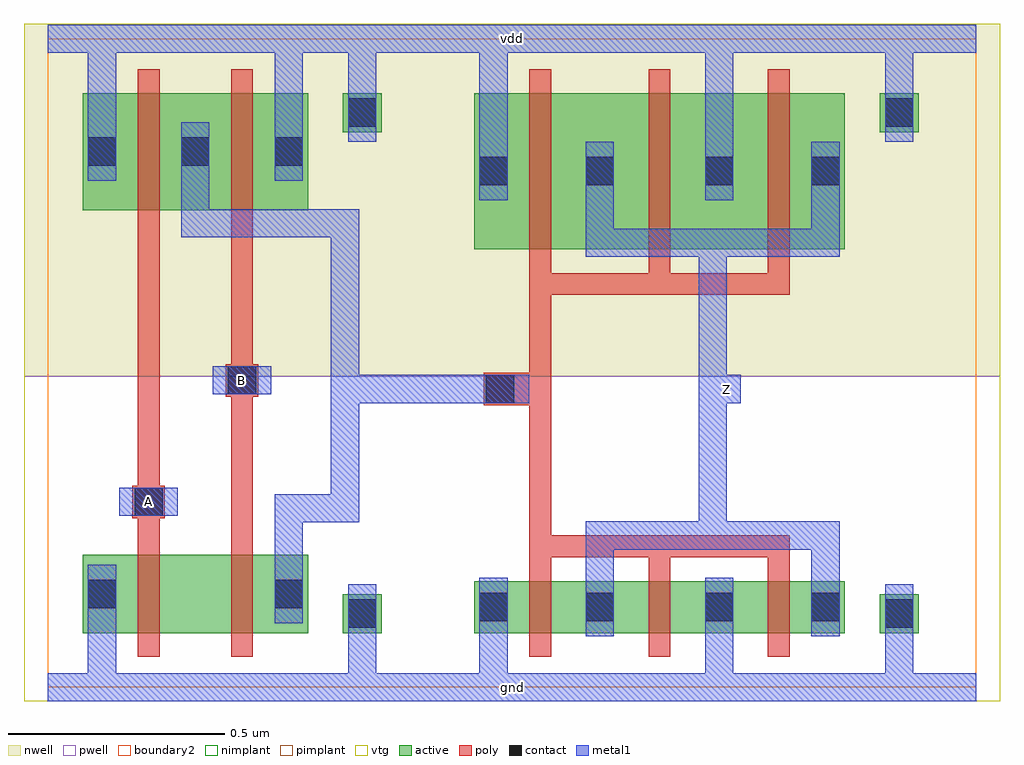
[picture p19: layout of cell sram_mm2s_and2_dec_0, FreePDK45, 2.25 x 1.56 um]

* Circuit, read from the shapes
.subckt sram_mm2s_and2_dec_0 A B Z gnd vdd
M1 sram_mm2s_pnand2_0/sram_mm2s_nmos_m1_w0_180_sm1_dactive_2/D A gnd gnd nfet w=0.18u l=0.05u
M2 sram_mm2s_pinv_0_1/A B sram_mm2s_pnand2_0/sram_mm2s_nmos_m1_w0_180_sm1_dactive_2/D gnd nfet w=0.18u l=0.05u
M3 Z sram_mm2s_pinv_0_1/A gnd gnd nfet w=0.12u l=0.05u m=3
M4 sram_mm2s_pinv_0_1/A A vdd vdd pfet w=0.27u l=0.05u
M5 vdd B sram_mm2s_pinv_0_1/A vdd pfet w=0.27u l=0.05u
M6 Z sram_mm2s_pinv_0_1/A vdd vdd pfet w=0.36u l=0.05u m=3
.ends

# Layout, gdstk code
import gdstk
lib = gdstk.Library(unit=1e-6, precision=5e-10)
def R(c, l, rs):  # rectangles x0, y0, x1, y1
    for r in rs: c.add(gdstk.rectangle(r[:2], r[2:], *l))
def A(c, l, x, y, w, h, nx, ny, dx, dy):  # array of equal rectangles
    R(c, l, [(x+i*dx, y+j*dy, x+i*dx+w, y+j*dy+h) for i in range(nx) for j in range(ny)])
active = (1, 0)
pwell = (2, 0)
nwell = (3, 0)
nimplant = (4, 0)
pimplant = (5, 0)
vtg = (6, 0)
poly = (9, 0)
contact = (10, 0)
metal1 = (11, 0)
boundary2 = (239, 0)

sram_mm2s_contact_11 = lib.new_cell('sram_mm2s_contact_11')
R(sram_mm2s_contact_11, active, [(0,0.0225,0.09,0.1125)])
R(sram_mm2s_contact_11, nwell, [(-0.055,-0.0325,0.145,0.1675)])
R(sram_mm2s_contact_11, pimplant, [(0,0.0225,0.09,0.1125)])
R(sram_mm2s_contact_11, contact, [(0.0125,0.035,0.0775,0.1)])
R(sram_mm2s_contact_11, metal1, [(0.0125,0,0.0775,0.135)])
R(sram_mm2s_contact_11, boundary2, [(-0.055,-0.0325,0.145,0.1675)])

sram_mm2s_pmos_m1_w0_270 = lib.new_cell('sram_mm2s_pmos_m1_w0_270_sm1_dm1')
R(sram_mm2s_pmos_m1_w0_270, active, [(0,0,0.305,0.27)])
R(sram_mm2s_pmos_m1_w0_270, nwell, [(-0.08,-0.08,0.385,0.35)])
R(sram_mm2s_pmos_m1_w0_270, pimplant, [(0,0,0.305,0.27)])
R(sram_mm2s_pmos_m1_w0_270, vtg, [(-0.08,-0.08,0.385,0.35)])
R(sram_mm2s_pmos_m1_w0_270, poly, [(0.1275,-0.055,0.1775,0.325), (0.1275,-0.055,0.1775,0.325)])
R(sram_mm2s_pmos_m1_w0_270, metal1, [(0.0125,0.0675,0.0775,0.2025), (0.2275,0.0675,0.2925,0.2025)])
R(sram_mm2s_pmos_m1_w0_270, boundary2, [(-0.08,-0.08,0.385,0.35)])
sram_mm2s_pmos_m1_w0_270.add(gdstk.Reference(sram_mm2s_contact_11, (0,0.0675)))
sram_mm2s_pmos_m1_w0_270.add(gdstk.Reference(sram_mm2s_contact_11, (0.215,0.0675)))
sram_mm2s_pmos_m1_w0_270.add(gdstk.Label('G', (0.1525,0.135), layer=9, texttype=0))
sram_mm2s_pmos_m1_w0_270.add(gdstk.Label('S', (0.045,0.135), layer=11, texttype=0))
sram_mm2s_pmos_m1_w0_270.add(gdstk.Label('D', (0.26,0.135), layer=11, texttype=0))

sram_mm2s_contact_10 = lib.new_cell('sram_mm2s_contact_10')
R(sram_mm2s_contact_10, active, [(0,0.0225,0.09,0.1125)])
R(sram_mm2s_contact_10, pwell, [(-0.055,-0.0325,0.145,0.1675)])
R(sram_mm2s_contact_10, nimplant, [(0,0.0225,0.09,0.1125)])
R(sram_mm2s_contact_10, contact, [(0.0125,0.035,0.0775,0.1)])
R(sram_mm2s_contact_10, metal1, [(0.0125,0,0.0775,0.135)])
R(sram_mm2s_contact_10, boundary2, [(-0.055,-0.0325,0.145,0.1675)])

sram_mm2s_nmos_m1_w0_180 = lib.new_cell('sram_mm2s_nmos_m1_w0_180_sm1_dactive')
R(sram_mm2s_nmos_m1_w0_180, active, [(0,0,0.305,0.18), (0.215,0.045,0.305,0.135)])
R(sram_mm2s_nmos_m1_w0_180, pwell, [(-0.08,-0.08,0.385,0.26)])
R(sram_mm2s_nmos_m1_w0_180, nimplant, [(0,0,0.305,0.18)])
R(sram_mm2s_nmos_m1_w0_180, vtg, [(-0.08,-0.08,0.385,0.26)])
R(sram_mm2s_nmos_m1_w0_180, poly, [(0.1275,-0.055,0.1775,0.235), (0.1275,-0.055,0.1775,0.235)])
R(sram_mm2s_nmos_m1_w0_180, metal1, [(0.0125,0.0225,0.0775,0.1575)])
R(sram_mm2s_nmos_m1_w0_180, boundary2, [(-0.08,-0.08,0.385,0.26)])
sram_mm2s_nmos_m1_w0_180.add(gdstk.Reference(sram_mm2s_contact_10, (0,0.0225)))
sram_mm2s_nmos_m1_w0_180.add(gdstk.Label('G', (0.1525,0.09), layer=9, texttype=0))
sram_mm2s_nmos_m1_w0_180.add(gdstk.Label('S', (0.045,0.09), layer=11, texttype=0))
sram_mm2s_nmos_m1_w0_180.add(gdstk.Label('D', (0.26,0.09), layer=1, texttype=0))

c_sram_mm2s_nmos_m1_w0_180 = lib.new_cell('sram_mm2s_nmos_m1_w0_180_sactive_dm1')
R(c_sram_mm2s_nmos_m1_w0_180, active, [(0,0,0.305,0.18), (0,0.045,0.09,0.135)])
R(c_sram_mm2s_nmos_m1_w0_180, pwell, [(-0.08,-0.08,0.385,0.26)])
R(c_sram_mm2s_nmos_m1_w0_180, nimplant, [(0,0,0.305,0.18)])
R(c_sram_mm2s_nmos_m1_w0_180, vtg, [(-0.08,-0.08,0.385,0.26)])
R(c_sram_mm2s_nmos_m1_w0_180, poly, [(0.1275,-0.055,0.1775,0.235), (0.1275,-0.055,0.1775,0.235)])
R(c_sram_mm2s_nmos_m1_w0_180, metal1, [(0.2275,0.0225,0.2925,0.1575)])
R(c_sram_mm2s_nmos_m1_w0_180, boundary2, [(-0.08,-0.08,0.385,0.26)])
c_sram_mm2s_nmos_m1_w0_180.add(gdstk.Reference(sram_mm2s_contact_10, (0.215,0.0225)))
c_sram_mm2s_nmos_m1_w0_180.add(gdstk.Label('G', (0.1525,0.09), layer=9, texttype=0))
c_sram_mm2s_nmos_m1_w0_180.add(gdstk.Label('S', (0.045,0.09), layer=1, texttype=0))
c_sram_mm2s_nmos_m1_w0_180.add(gdstk.Label('D', (0.26,0.09), layer=11, texttype=0))

sram_mm2s_contact_12 = lib.new_cell('sram_mm2s_contact_12')
R(sram_mm2s_contact_12, active, [(0,0.0225,0.09,0.1125)])
R(sram_mm2s_contact_12, nwell, [(-0.055,-0.0325,0.145,0.1675)])
R(sram_mm2s_contact_12, nimplant, [(0,0.0225,0.09,0.1125)])
R(sram_mm2s_contact_12, contact, [(0.0125,0.035,0.0775,0.1)])
R(sram_mm2s_contact_12, metal1, [(0.0125,0,0.0775,0.135)])
R(sram_mm2s_contact_12, boundary2, [(-0.055,-0.0325,0.145,0.1675)])

sram_mm2s_contact_13 = lib.new_cell('sram_mm2s_contact_13')
R(sram_mm2s_contact_13, active, [(0,0.0225,0.09,0.1125)])
R(sram_mm2s_contact_13, pwell, [(-0.055,-0.0325,0.145,0.1675)])
R(sram_mm2s_contact_13, pimplant, [(0,0.0225,0.09,0.1125)])
R(sram_mm2s_contact_13, contact, [(0.0125,0.035,0.0775,0.1)])
R(sram_mm2s_contact_13, metal1, [(0.0125,0,0.0775,0.135)])
R(sram_mm2s_contact_13, boundary2, [(-0.055,-0.0325,0.145,0.1675)])

sram_mm2s_contact_14 = lib.new_cell('sram_mm2s_contact_14')
R(sram_mm2s_contact_14, poly, [(0.03,0,0.105,0.075)])
R(sram_mm2s_contact_14, contact, [(0.035,0.005,0.1,0.07)])
R(sram_mm2s_contact_14, metal1, [(0,0.005,0.135,0.07)])
R(sram_mm2s_contact_14, boundary2, [(0,0,0.135,0.075)])

sram_mm2s_pnand2 = lib.new_cell('sram_mm2s_pnand2')
R(sram_mm2s_pnand2, pwell, [(-0.055,-0.0325,0.9575,0.7175)])
R(sram_mm2s_pnand2, nwell, [(-0.055,0.7175,0.9575,1.53)])
R(sram_mm2s_pnand2, vtg, [(-0.055,-0.0325,0.9575,0.7175), (-0.055,0.7175,0.9575,1.53)])
R(sram_mm2s_pnand2, poly, [(0.2075,0.36,0.2575,1.045), (0.4225,0.36,0.4725,1.045), (0.2075,0.39,0.2325,0.465), (0.4225,0.67,0.4475,0.745)])
R(sram_mm2s_pnand2, metal1, [(0,-0.0325,0.9025,0.0325), (0.0925,-0.0325,0.1575,0.1475), (0.6925,0,0.7575,0.17), (0.5225,0.2825,0.5875,0.4125), (0.5225,0.38,0.5875,0.445), (0.555,0.38,0.685,0.445), (0.6525,0.38,0.7175,0.445), (0.165,0.395,0.3,0.46), (0.6525,0.4125,0.7175,1.07), (0.38,0.675,0.515,0.74), (0.3075,1.0375,0.3725,1.1025), (0.34,1.0375,0.685,1.1025), (0.6525,1.0375,0.7175,1.1025), (0.3075,1.07,0.3725,1.1675), (0.0925,1.1675,0.1575,1.5275), (0.5225,1.1675,0.5875,1.5275), (0.6925,1.325,0.7575,1.495), (0,1.4625,0.9025,1.5275)])
R(sram_mm2s_pnand2, boundary2, [(0,0,0.9025,1.495), (0,0,0.9025,1.495)])
sram_mm2s_pnand2.add(gdstk.Reference(sram_mm2s_pmos_m1_w0_270, (0.08,1.1)))
sram_mm2s_pnand2.add(gdstk.Reference(sram_mm2s_pmos_m1_w0_270, (0.295,1.1)))
sram_mm2s_pnand2.add(gdstk.Reference(sram_mm2s_nmos_m1_w0_180, (0.08,0.125)))
sram_mm2s_pnand2.add(gdstk.Reference(c_sram_mm2s_nmos_m1_w0_180, (0.295,0.125)))
sram_mm2s_pnand2.add(gdstk.Reference(sram_mm2s_contact_12, (0.68,1.2575)))
sram_mm2s_pnand2.add(gdstk.Reference(sram_mm2s_contact_13, (0.68,0.1025)))
sram_mm2s_pnand2.add(gdstk.Reference(sram_mm2s_contact_14, (0.165,0.39)))
sram_mm2s_pnand2.add(gdstk.Reference(sram_mm2s_contact_14, (0.38,0.67)))
sram_mm2s_pnand2.add(gdstk.Label('Z', (0.685,1.07), layer=11, texttype=0))
sram_mm2s_pnand2.add(gdstk.Label('gnd', (0.451,0), layer=11, texttype=0))
sram_mm2s_pnand2.add(gdstk.Label('vdd', (0.451,1.495), layer=11, texttype=0))
sram_mm2s_pnand2.add(gdstk.Label('A', (0.2325,0.4275), layer=11, texttype=0))
sram_mm2s_pnand2.add(gdstk.Label('B', (0.4475,0.7075), layer=11, texttype=0))

sram_mm2s_pmos_m3_w0_360 = lib.new_cell('sram_mm2s_pmos_m3_w0_360_sm1_dm1_da_p')
R(sram_mm2s_pmos_m3_w0_360, active, [(0,0,0.855,0.36)])
R(sram_mm2s_pmos_m3_w0_360, nwell, [(-0.08,-0.08,0.935,0.44)])
R(sram_mm2s_pmos_m3_w0_360, pimplant, [(0,0,0.855,0.36)])
R(sram_mm2s_pmos_m3_w0_360, vtg, [(-0.08,-0.08,0.935,0.44)])
A(sram_mm2s_pmos_m3_w0_360, poly, 0.1275, -0.055, 0.05, 0.47, 3, 1, 0.275, 0)
R(sram_mm2s_pmos_m3_w0_360, poly, [(0.1275,-0.105,0.7275,-0.055)])
R(sram_mm2s_pmos_m3_w0_360, metal1, [(0.2575,-0.0175,0.8425,0.0475), (0.2575,0.015,0.3225,0.18), (0.7775,0.015,0.8425,0.18), (0.0125,0.1125,0.0775,0.2475), (0.5325,0.1125,0.5975,0.2475)])
R(sram_mm2s_pmos_m3_w0_360, boundary2, [(-0.08,-0.105,0.935,0.44)])
sram_mm2s_pmos_m3_w0_360.add(gdstk.Reference(sram_mm2s_contact_11, (0,0.1125)))
sram_mm2s_pmos_m3_w0_360.add(gdstk.Reference(sram_mm2s_contact_11, (0.245,0.1125)))
sram_mm2s_pmos_m3_w0_360.add(gdstk.Reference(sram_mm2s_contact_11, (0.52,0.1125)))
sram_mm2s_pmos_m3_w0_360.add(gdstk.Reference(sram_mm2s_contact_11, (0.765,0.1125)))
sram_mm2s_pmos_m3_w0_360.add(gdstk.Label('G', (0.4275,-0.08), layer=9, texttype=0))
sram_mm2s_pmos_m3_w0_360.add(gdstk.Label('S', (0.045,0.18), layer=11, texttype=0))
sram_mm2s_pmos_m3_w0_360.add(gdstk.Label('S', (0.565,0.18), layer=11, texttype=0))
sram_mm2s_pmos_m3_w0_360.add(gdstk.Label('D', (0.55,0.015), layer=11, texttype=0))

sram_mm2s_nmos_m3_w0_120 = lib.new_cell('sram_mm2s_nmos_m3_w0_120_sm1_dm1_da_p')
R(sram_mm2s_nmos_m3_w0_120, active, [(0,0,0.855,0.12)])
R(sram_mm2s_nmos_m3_w0_120, pwell, [(-0.08,-0.08,0.935,0.2)])
R(sram_mm2s_nmos_m3_w0_120, nimplant, [(0,0,0.855,0.12)])
R(sram_mm2s_nmos_m3_w0_120, vtg, [(-0.08,-0.08,0.935,0.2)])
A(sram_mm2s_nmos_m3_w0_120, poly, 0.1275, -0.055, 0.05, 0.23, 3, 1, 0.275, 0)
R(sram_mm2s_nmos_m3_w0_120, poly, [(0.1275,0.175,0.7275,0.225)])
R(sram_mm2s_nmos_m3_w0_120, metal1, [(0.0125,-0.0075,0.0775,0.1275), (0.5325,-0.0075,0.5975,0.1275), (0.2575,0.06,0.3225,0.225), (0.7775,0.06,0.8425,0.225), (0.2575,0.1925,0.8425,0.2575)])
R(sram_mm2s_nmos_m3_w0_120, boundary2, [(-0.08,-0.08,0.935,0.2575)])
sram_mm2s_nmos_m3_w0_120.add(gdstk.Reference(sram_mm2s_contact_10, (0,-0.0075)))
sram_mm2s_nmos_m3_w0_120.add(gdstk.Reference(sram_mm2s_contact_10, (0.245,-0.0075)))
sram_mm2s_nmos_m3_w0_120.add(gdstk.Reference(sram_mm2s_contact_10, (0.52,-0.0075)))
sram_mm2s_nmos_m3_w0_120.add(gdstk.Reference(sram_mm2s_contact_10, (0.765,-0.0075)))
sram_mm2s_nmos_m3_w0_120.add(gdstk.Label('G', (0.4275,0.2), layer=9, texttype=0))
sram_mm2s_nmos_m3_w0_120.add(gdstk.Label('S', (0.045,0.06), layer=11, texttype=0))
sram_mm2s_nmos_m3_w0_120.add(gdstk.Label('S', (0.565,0.06), layer=11, texttype=0))
sram_mm2s_nmos_m3_w0_120.add(gdstk.Label('D', (0.55,0.225), layer=11, texttype=0))

sram_mm2s_pinv_0 = lib.new_cell('sram_mm2s_pinv_0')
R(sram_mm2s_pinv_0, pwell, [(-0.055,-0.0325,1.2925,0.7175)])
R(sram_mm2s_pinv_0, nwell, [(-0.055,0.7175,1.2925,1.53)])
R(sram_mm2s_pinv_0, vtg, [(-0.055,-0.0325,1.2925,0.7175), (-0.055,0.7175,1.2925,1.53)])
R(sram_mm2s_pinv_0, poly, [(0.2075,0.35,0.2575,0.905), (0.14,0.65,0.2075,0.725)])
R(sram_mm2s_pinv_0, metal1, [(0,-0.0325,1.2375,0.0325), (0.0925,-0.0325,0.1575,0.1175), (0.6125,-0.0325,0.6775,0.1175), (1.0275,0,1.0925,0.17), (0.5975,0.3175,0.6625,1.0575), (0.0725,0.655,0.2075,0.72), (0.63,0.655,0.695,0.72), (0.0925,1.1225,0.1575,1.5275), (0.6125,1.1225,0.6775,1.5275), (1.0275,1.325,1.0925,1.495), (0,1.4625,1.2375,1.5275)])
R(sram_mm2s_pinv_0, boundary2, [(0,0,1.2375,1.495), (0,0,1.2375,1.495)])
sram_mm2s_pinv_0.add(gdstk.Reference(sram_mm2s_pmos_m3_w0_360, (0.08,1.01)))
sram_mm2s_pinv_0.add(gdstk.Reference(sram_mm2s_nmos_m3_w0_120, (0.08,0.125)))
sram_mm2s_pinv_0.add(gdstk.Reference(sram_mm2s_contact_12, (1.015,1.2575)))
sram_mm2s_pinv_0.add(gdstk.Reference(sram_mm2s_contact_13, (1.015,0.1025)))
sram_mm2s_pinv_0.add(gdstk.Reference(sram_mm2s_contact_14, (0.0725,0.65)))
sram_mm2s_pinv_0.add(gdstk.Label('A', (0.14,0.6875), layer=11, texttype=0))
sram_mm2s_pinv_0.add(gdstk.Label('Z', (0.6625,0.6875), layer=11, texttype=0))
sram_mm2s_pinv_0.add(gdstk.Label('gnd', (0.619,0), layer=11, texttype=0))
sram_mm2s_pinv_0.add(gdstk.Label('vdd', (0.619,1.495), layer=11, texttype=0))

sram_mm2s_and2_dec_0 = lib.new_cell('sram_mm2s_and2_dec_0')
R(sram_mm2s_and2_dec_0, metal1, [(0,-0.0325,2.14,0.0325), (0.165,0.395,0.3,0.46), (0.6525,0.655,0.7175,0.72), (0.685,0.655,1.0425,0.72), (1.5325,0.655,1.5975,0.72), (0.38,0.675,0.515,0.74), (0.6525,0.6875,0.7175,1.07), (0,1.4625,2.14,1.5275)])
R(sram_mm2s_and2_dec_0, boundary2, [(0,0,2.14,1.495)])
sram_mm2s_and2_dec_0.add(gdstk.Reference(sram_mm2s_pnand2, (0,0)))
sram_mm2s_and2_dec_0.add(gdstk.Reference(sram_mm2s_pinv_0, (0.9025,0)))
sram_mm2s_and2_dec_0.add(gdstk.Label('Z', (1.565,0.6875), layer=11, texttype=0))
sram_mm2s_and2_dec_0.add(gdstk.Label('A', (0.2325,0.4275), layer=11, texttype=0))
sram_mm2s_and2_dec_0.add(gdstk.Label('B', (0.4475,0.7075), layer=11, texttype=0))
sram_mm2s_and2_dec_0.add(gdstk.Label('gnd', (1.07,0), layer=11, texttype=0))
sram_mm2s_and2_dec_0.add(gdstk.Label('vdd', (1.07,1.495), layer=11, texttype=0))

lib.write_gds('sram_mm2s_and2_dec_0.gds')
